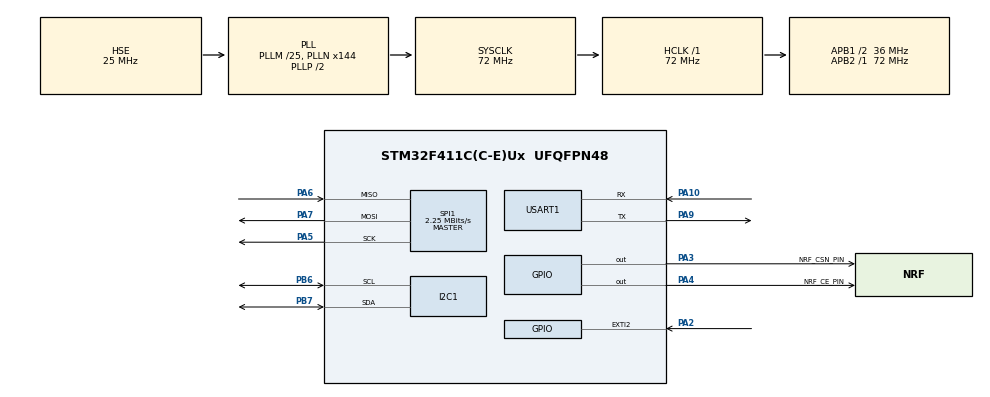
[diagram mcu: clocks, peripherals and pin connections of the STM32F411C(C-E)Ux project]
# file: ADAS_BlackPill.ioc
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Dma.Request0=USART1_RX
Dma.USART1_RX.0.Direction=DMA_PERIPH_TO_MEMORY
Dma.USART1_RX.0.FIFOMode=DMA_FIFOMODE_DISABLE
Dma.USART1_RX.0.Instance=DMA2_Stream2
Dma.USART1_RX.0.MemDataAlignment=DMA_MDATAALIGN_BYTE
Dma.USART1_RX.0.MemInc=DMA_MINC_ENABLE
Dma.USART1_RX.0.Mode=DMA_CIRCULAR
Dma.USART1_RX.0.PeriphDataAlignment=DMA_PDATAALIGN_BYTE
Dma.USART1_RX.0.PeriphInc=DMA_PINC_DISABLE
Dma.USART1_RX.0.Priority=DMA_PRIORITY_LOW
FREERTOS.CountingSemaphores01=myCountingSem01,3,Dynamic,NULL
FREERTOS.Events01=EventGroup,Dynamic,NULL
FREERTOS.INCLUDE_xEventGroupSetBitFromISR=1
FREERTOS.Mutexes01=NRF_Mutex,Dynamic,NULL
FREERTOS.Tasks01=defaultTask,24,128,StartDefaultTask,Default,NULL,Dynamic,NULL,NULL;Startup_Task,48,200,Init_Task,Default,NULL,Dynamic,NULL,NULL;Calc_Dis,32,300,Distance_Calc,Default,NULL,Dynamic,NULL,NULL;Local_Task,24,200,Localization,Default,NULL,Dynamic,NULL,NULL;Check_Algo,32,200,Check_Algorithm,Default,NULL,Dynamic,NULL,NULL;BSW_Algo,16,200,BSW_Algorithm,Default,NULL,Dynamic,NULL,NULL;DPW_Algo,16,200,DPW_Algorithm,Default,NULL,Dynamic,NULL,NULL;Receiveing,8,200,Wireless_Receiving,Default,NULL,Dynamic,NULL,NULL;FCW_Algo,24,200,FCW_Algorithm,Default,NULL,Dynamic,NULL,NULL;EEBL_Algo,8,200,EEBL_Algorithm,Default,NULL,Dynamic,NULL,NULL;Task_LidarData,8,200,Ask_LidarData,Default,NULL,Dynamic,NULL,NULL
FREERTOS.configGENERATE_RUN_TIME_STATS=1
FREERTOS.configRECORD_STACK_HIGH_ADDRESS=1
FREERTOS.configUSE_IDLE_HOOK=1
FREERTOS.configUSE_STATS_FORMATTING_FUNCTIONS=1
I2C1.I2C_Mode=I2C_Fast
Mcu.Family=STM32F4
Mcu.Name=STM32F411C(C-E)Ux
Mcu.Package=UFQFPN48
NVIC.DMA2_Stream2_IRQn=true\:5\:0\:false\:false\:true\:true\:false\:true\:true
NVIC.EXTI2_IRQn=true\:5\:0\:false\:false\:true\:true\:true\:true\:true
NVIC.PriorityGroup=NVIC_PRIORITYGROUP_4
NVIC.TIM3_IRQn=true\:5\:0\:false\:false\:true\:true\:true\:true\:true
NVIC.TIM4_IRQn=true\:15\:0\:false\:false\:true\:false\:false\:true\:true
NVIC.TimeBase=TIM4_IRQn
NVIC.TimeBaseIP=TIM4
NVIC.USART1_IRQn=true\:5\:0\:false\:false\:true\:true\:true\:true\:true
PA10.Mode=Asynchronous
PA10.Signal=USART1_RX
PA13.Mode=Serial_Wire
PA13.Signal=SYS_JTMS-SWDIO
PA14.Mode=Serial_Wire
PA14.Signal=SYS_JTCK-SWCLK
PA2.GPIO_ModeDefaultEXTI=GPIO_MODE_IT_FALLING
PA2.Signal=GPXTI2
PA3.GPIO_Label=NRF_CSN_PIN
PA3.Signal=GPIO_Output
PA4.GPIO_Label=NRF_CE_PIN
PA4.Signal=GPIO_Output
PA5.Mode=Full_Duplex_Master
PA5.Signal=SPI1_SCK
PA6.Mode=Full_Duplex_Master
PA6.Signal=SPI1_MISO
PA7.Mode=Full_Duplex_Master
PA7.Signal=SPI1_MOSI
PA9.Mode=Asynchronous
PA9.Signal=USART1_TX
PB6.Mode=I2C
PB6.Signal=I2C1_SCL
PB7.Mode=I2C
PB7.Signal=I2C1_SDA
PH0\ -\ OSC_IN.Mode=HSE-External-Oscillator
PH0\ -\ OSC_IN.Signal=RCC_OSC_IN
PH1\ -\ OSC_OUT.Mode=HSE-External-Oscillator
PH1\ -\ OSC_OUT.Signal=RCC_OSC_OUT
ProjectManager.HeapSize=0x200
ProjectManager.StackSize=0x400
ProjectManager.TargetToolchain=STM32CubeIDE
RCC.48MHZClocksFreq_Value=36000000
RCC.AHBFreq_Value=72000000
RCC.APB1CLKDivider=RCC_HCLK_DIV2
RCC.APB1Freq_Value=36000000
RCC.APB1TimFreq_Value=72000000
RCC.APB2Freq_Value=72000000
RCC.APB2TimFreq_Value=72000000
RCC.CortexFreq_Value=72000000
RCC.HCLKFreq_Value=72000000
RCC.HSE_VALUE=25000000
RCC.HSI_VALUE=16000000
RCC.LSE_VALUE=32768
RCC.PLLM=25
RCC.PLLN=144
RCC.PLLSourceVirtual=RCC_PLLSOURCE_HSE
RCC.SYSCLKFreq_VALUE=72000000
RCC.SYSCLKSource=RCC_SYSCLKSOURCE_PLLCLK
RCC.VCOOutputFreq_Value=144000000
SPI1.BaudRatePrescaler=SPI_BAUDRATEPRESCALER_32
SPI1.CalculateBaudRate=2.25 MBits/s
SPI1.Direction=SPI_DIRECTION_2LINES
SPI1.Mode=SPI_MODE_MASTER
SPI1.VirtualType=VM_MASTER
USART1.VirtualMode=VM_ASYNC
VP_FREERTOS_VS_CMSIS_V2.Mode=CMSIS_V2
VP_SYS_VS_tim4.Mode=TIM4
VP_TIM3_VS_ClockSourceITR.Mode=TriggerSource_ITR0
board=custom

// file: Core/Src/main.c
/* USER CODE BEGIN Header */
/**
 ******************************************************************************
 * @file           : main.c
 * @brief          : Main program body
 ******************************************************************************
 * @attention
 *
 * Copyright (c) 2024 STMicroelectronics.
 * All rights reserved.
 *
 * This software is licensed under terms that can be found in the LICENSE file
 * in the root directory of this software component.
 * If no LICENSE file comes with this software, it is provided AS-IS.
 *
 ******************************************************************************
 */
/* USER CODE END Header */
#include "main.h"
#include "cmsis_os.h"

/* USER CODE BEGIN Includes */
#include <stdlib.h>
#include <stdbool.h>
#include <string.h>
#include "NRF.h"
#include "../Inc/fonts.h"
#include "../Inc/ssd1306.h"

/* USER CODE END Includes */

/* USER CODE BEGIN PTD */

/**
 * @enum  : @EventBits_t
 * @brief : Contains The Bits of the Event Group
 * 		Each Bit is Specified to Carry out Some Operation When Set
 *
 */
typedef enum
{
	DistanceCalcOnDMA = 0x01 ,	/**< DistanceCalcOnDMA 	*/
	EEBL_ASSERTED	  = 0x02 ,  /**< EEBL_ASSERTED 		*/
	FCW_ASSERTED	  = 0x03 ,  /**< FCW_ASSERTED 		*/
	ALGO_CheckonCalc  = 0x04 , 	/**< ALGO_CheckonCalc 	*/

}EventBits_t;

/**
 * @enum  : @EventBits_t
 * @brief : Contains The Bits of the Event Group
 * 		Each Bit is Specified to Carry out Some Operation When Set
 *
 */
typedef enum
{
	FCW_ID=0x55,
	DPW_R_ID=0x56,
	DPW_L_ID=0x57,
	BSW_R_ID=0x58,
	BSW_L_ID=0x59,
	EEBL_ID=0x60,
	ASK_DATA=0xf1,
	SAFE_PASS_L_ID = 0xFA,
	SAFE_PASS_R_ID = 0xFB

}Algo_message;

/**
 * @enum  : Motors_State_t
 * @brief : Contains The Bits Containing Motor State of Motors Movement To Send To the RPI
 *
 */
typedef enum{
	RPI_STOP = 0x45,
	RPI_MOVE=0x46
}Motors_State_t;

/* USER CODE END PTD */

/* USER CODE BEGIN PM */
#define CAR_ID							0x11	/* My Own Car ID */
#define LOCALIZATION_OPERATION_ID		0x01	/* ID For Localization Operation */
#define ASK_DIRECTION_OPERATION_ID      0x02	/* ID For Request Direction */
#define FCW_Threshold                   2000u   /* distances in mm this comes first*/
#define EEBL_Threshold                  1000u   /* distances in mm this comes second*/
#define TOTAL_ANGLES					360
#define LOCALIZATION_TOLERANCE_VALUE	500

/*TODO : Angles & Thresholds may Need Some Adjustment Depending on your Needs  */
#define BSW_Minimum_Angle_L				120
#define BSW_Maximium_Angle_L			150

#define BSW_Minimum_Angle_R				30
#define BSW_Maximium_Angle_R			60

#define BSW_Threshold					700u

/*TODO : Angles & Thresholds may Need Some Adjustment Depending on your Needs  */
#define DPW_Minimum_Angle_L				215
#define DPW_Maximium_Angle_L			240

#define DPW_Minimum_Angle_R				300
#define DPW_Maximium_Angle_R			330

#define DPW_Threshold					1000u

/* USER CODE END PM */

I2C_HandleTypeDef hi2c1;

SPI_HandleTypeDef hspi1;

TIM_HandleTypeDef htim3;

UART_HandleTypeDef huart1;

DMA_HandleTypeDef hdma_usart1_rx;

/* Definitions for defaultTask */
osThreadId_t defaultTaskHandle;
const osThreadAttr_t defaultTask_attributes = {
		.name = "defaultTask",
		.stack_size = 128 * 4,
		.priority = (osPriority_t) osPriorityNormal,
};
/* Definitions for Startup_Task */
osThreadId_t Startup_TaskHandle;
const osThreadAttr_t Startup_Task_attributes = {
		.name = "Startup_Task",
		.stack_size = 200 * 4,
		.priority = (osPriority_t) osPriorityRealtime,
};
/* Definitions for Calc_Dis */
osThreadId_t Calc_DisHandle;
const osThreadAttr_t Calc_Dis_attributes = {
		.name = "Calc_Dis",
		.stack_size = 300 * 4,
		.priority = (osPriority_t) osPriorityAboveNormal,
};
/* Definitions for Local_Task */
osThreadId_t Local_TaskHandle;
const osThreadAttr_t Local_Task_attributes = {
		.name = "Local_Task",
		.stack_size = 200 * 4,
		.priority = (osPriority_t) osPriorityNormal,
};
/* Definitions for Check_Algo */
osThreadId_t Check_AlgoHandle;
const osThreadAttr_t Check_Algo_attributes = {
		.name = "Check_Algo",
		.stack_size = 200 * 4,
		.priority = (osPriority_t) osPriorityAboveNormal,
};
/* Definitions for BSW_Algo */
osThreadId_t BSW_AlgoHandle;
const osThreadAttr_t BSW_Algo_attributes = {
		.name = "BSW_Algo",
		.stack_size = 200 * 4,
		.priority = (osPriority_t) osPriorityBelowNormal,
};
/* Definitions for DPW_Algo */
osThreadId_t DPW_AlgoHandle;
const osThreadAttr_t DPW_Algo_attributes = {
		.name = "DPW_Algo",
		.stack_size = 200 * 4,
		.priority = (osPriority_t) osPriorityBelowNormal,
};
/* Definitions for Receiveing */
osThreadId_t ReceiveingHandle;
const osThreadAttr_t Receiveing_attributes = {
		.name = "Receiveing",
		.stack_size = 200 * 4,
		.priority = (osPriority_t) osPriorityLow,
};
/* Definitions for FCW_Algo */
osThreadId_t FCW_AlgoHandle;
const osThreadAttr_t FCW_Algo_attributes = {
		.name = "FCW_Algo",
		.stack_size = 200 * 4,
		.priority = (osPriority_t) osPriorityNormal,
};
/* Definitions for EEBL_Algo */
osThreadId_t EEBL_AlgoHandle;
const osThreadAttr_t EEBL_Algo_attributes = {
		.name = "EEBL_Algo",
		.stack_size = 200 * 4,
		.priority = (osPriority_t) osPriorityLow,
};
/* Definitions for Task_LidarData */
osThreadId_t Task_LidarDataHandle;
const osThreadAttr_t Task_LidarData_attributes = {
		.name = "Task_LidarData",
		.stack_size = 200 * 4,
		.priority = (osPriority_t) osPriorityLow,
};
/* Definitions for NRF_Mutex */
osMutexId_t NRF_MutexHandle;
const osMutexAttr_t NRF_Mutex_attributes = {
		.name = "NRF_Mutex"
};
/* Definitions for myCountingSem01 */
osSemaphoreId_t myCountingSem01Handle;
const osSemaphoreAttr_t myCountingSem01_attributes = {
		.name = "myCountingSem01"
};
/* Definitions for EventGroup */
osEventFlagsId_t EventGroupHandle;
const osEventFlagsAttr_t EventGroup_attributes = {
		.name = "EventGroup"
};
/* USER CODE BEGIN PV */
/* Distances Sent From Lidar of the 360 Degrees */
uint8_t Distances_Buffer_str[TOTAL_ANGLES][5] = {{0}};
uint16_t Distances_Buffer[TOTAL_ANGLES] = {0};
/* Indicies of Directions in the Final Calculated Average Distances Array
 *
 */
#define FRONT_RIGHT 	7
#define FRONT 			6
#define FRONT_LEFT 		5
#define LEFT 			4
#define BACK_LEFT 		3
#define BACK 			2
#define BACK_RIGHT 		1
#define RIGHT 			0

uint8_t My_Direction	=			0;
uint16_t * Obstcales_Detection = NULL;
uint8_t Front_Car_ID	=			0x05;
uint8_t Back_Car_ID		=			0x05;

/* USER CODE END PV */

void SystemClock_Config(void);
static void MX_GPIO_Init(void);
static void MX_DMA_Init(void);
static void MX_SPI1_Init(void);
static void MX_TIM3_Init(void);
static void MX_USART1_UART_Init(void);
static void MX_I2C1_Init(void);
void StartDefaultTask(void *argument);
void Init_Task(void *argument);
void Distance_Calc(void *argument);
void Localization(void *argument);
void Check_Algorithm(void *argument);
void BSW_Algorithm(void *argument);
void DPW_Algorithm(void *argument);
void Wireless_Receiving(void *argument);
void FCW_Algorithm(void *argument);
void EEBL_Algorithm(void *argument);
void Ask_LidarData(void *argument);

/* USER CODE BEGIN 0 */
uint64_t RxpipeAddrs = 0x11223344AA;
char myRxData[32];
char myTxData[32] = "Hello From STM32";
char AckPayload[32] = "Acked by STM32";
char AckPayload_Buffer[32];
/* USER CODE END 0 */

int main(void)
{

	/* MCU Configuration--------------------------------------------------------*/

	/* Reset of all peripherals, Initializes the Flash interface and the Systick. */
	HAL_Init();

	/* Configure the system clock */
	SystemClock_Config();

	/* Initialize all configured peripherals */
	MX_GPIO_Init();
	MX_DMA_Init();
	MX_SPI1_Init();
	MX_TIM3_Init();
	MX_USART1_UART_Init();
	MX_I2C1_Init();
	/* USER CODE BEGIN 2 */
	/* Initialize DMA with UART to Generate Interrupt When Receiving all 360 Angle Distances */
	HAL_UART_Receive_DMA(&huart1, Distances_Buffer_str, (uint16_t)(TOTAL_ANGLES*5));
	/* USER CODE END 2 */

	/* Init scheduler */
	osKernelInitialize();
	/* Create the mutex(es) */
	/* creation of NRF_Mutex */
	NRF_MutexHandle = osMutexNew(&NRF_Mutex_attributes);

	/* Create the semaphores(s) */
	/* creation of myCountingSem01 */
	myCountingSem01Handle = osSemaphoreNew(3, 0, &myCountingSem01_attributes);

	/* Create the thread(s) */
	/* creation of defaultTask */
	defaultTaskHandle = osThreadNew(StartDefaultTask, NULL, &defaultTask_attributes);

	/* creation of Startup_Task */
	Startup_TaskHandle = osThreadNew(Init_Task, NULL, &Startup_Task_attributes);

	/* creation of Calc_Dis */
	Calc_DisHandle = osThreadNew(Distance_Calc, NULL, &Calc_Dis_attributes);

	/* creation of Local_Task */
	Local_TaskHandle = osThreadNew(Localization, NULL, &Local_Task_attributes);

	/* creation of Check_Algo */
	Check_AlgoHandle = osThreadNew(Check_Algorithm, NULL, &Check_Algo_attributes);

	/* creation of BSW_Algo */
	BSW_AlgoHandle = osThreadNew(BSW_Algorithm, NULL, &BSW_Algo_attributes);

	/* creation of DPW_Algo */
	DPW_AlgoHandle = osThreadNew(DPW_Algorithm, NULL, &DPW_Algo_attributes);

	/* creation of Receiveing */
	ReceiveingHandle = osThreadNew(Wireless_Receiving, NULL, &Receiveing_attributes);

	/* creation of FCW_Algo */
	FCW_AlgoHandle = osThreadNew(FCW_Algorithm, NULL, &FCW_Algo_attributes);

	/* creation of EEBL_Algo */
	EEBL_AlgoHandle = osThreadNew(EEBL_Algorithm, NULL, &EEBL_Algo_attributes);

	/* creation of Task_LidarData */
	Task_LidarDataHandle = osThreadNew(Ask_LidarData, NULL, &Task_LidarData_attributes);

	/* creation of EventGroup */
	EventGroupHandle = osEventFlagsNew(&EventGroup_attributes);

	/* Start scheduler */
	osKernelStart();

	/* We should never get here as control is now taken by the scheduler */

	/* Infinite loop */
	while (1)
	{

	}
}

void SystemClock_Config(void)
{
	RCC_OscInitTypeDef RCC_OscInitStruct = {0};
	RCC_ClkInitTypeDef RCC_ClkInitStruct = {0};

	/** Configure the main internal regulator output voltage
	 */
	__HAL_RCC_PWR_CLK_ENABLE();
	__HAL_PWR_VOLTAGESCALING_CONFIG(PWR_REGULATOR_VOLTAGE_SCALE1);

	/** Initializes the RCC Oscillators according to the specified parameters
	 * in the RCC_OscInitTypeDef structure.
	 */
	RCC_OscInitStruct.OscillatorType = RCC_OSCILLATORTYPE_HSE;
	RCC_OscInitStruct.HSEState = RCC_HSE_ON;
	RCC_OscInitStruct.PLL.PLLState = RCC_PLL_ON;
	RCC_OscInitStruct.PLL.PLLSource = RCC_PLLSOURCE_HSE;
	RCC_OscInitStruct.PLL.PLLM = 25;
	RCC_OscInitStruct.PLL.PLLN = 144;
	RCC_OscInitStruct.PLL.PLLP = RCC_PLLP_DIV2;
	RCC_OscInitStruct.PLL.PLLQ = 4;
	if (HAL_RCC_OscConfig(&RCC_OscInitStruct) != HAL_OK)
	{
		Error_Handler();
	}

	/** Initializes the CPU, AHB and APB buses clocks
	 */
	RCC_ClkInitStruct.ClockType = RCC_CLOCKTYPE_HCLK|RCC_CLOCKTYPE_SYSCLK
			|RCC_CLOCKTYPE_PCLK1|RCC_CLOCKTYPE_PCLK2;
	RCC_ClkInitStruct.SYSCLKSource = RCC_SYSCLKSOURCE_PLLCLK;
	RCC_ClkInitStruct.AHBCLKDivider = RCC_SYSCLK_DIV1;
	RCC_ClkInitStruct.APB1CLKDivider = RCC_HCLK_DIV2;
	RCC_ClkInitStruct.APB2CLKDivider = RCC_HCLK_DIV1;

	if (HAL_RCC_ClockConfig(&RCC_ClkInitStruct, FLASH_LATENCY_2) != HAL_OK)
	{
		Error_Handler();
	}
}

static void MX_I2C1_Init(void)
{

	hi2c1.Instance = I2C1;
	hi2c1.Init.ClockSpeed = 400000;
	hi2c1.Init.DutyCycle = I2C_DUTYCYCLE_2;
	hi2c1.Init.OwnAddress1 = 0;
	hi2c1.Init.AddressingMode = I2C_ADDRESSINGMODE_7BIT;
	hi2c1.Init.DualAddressMode = I2C_DUALADDRESS_DISABLE;
	hi2c1.Init.OwnAddress2 = 0;
	hi2c1.Init.GeneralCallMode = I2C_GENERALCALL_DISABLE;
	hi2c1.Init.NoStretchMode = I2C_NOSTRETCH_DISABLE;
	if (HAL_I2C_Init(&hi2c1) != HAL_OK)
	{
		Error_Handler();
	}

}

static void MX_SPI1_Init(void)
{

	/* SPI1 parameter configuration*/
	hspi1.Instance = SPI1;
	hspi1.Init.Mode = SPI_MODE_MASTER;
	hspi1.Init.Direction = SPI_DIRECTION_2LINES;
	hspi1.Init.DataSize = SPI_DATASIZE_8BIT;
	hspi1.Init.CLKPolarity = SPI_POLARITY_LOW;
	hspi1.Init.CLKPhase = SPI_PHASE_1EDGE;
	hspi1.Init.NSS = SPI_NSS_SOFT;
	hspi1.Init.BaudRatePrescaler = SPI_BAUDRATEPRESCALER_32;
	hspi1.Init.FirstBit = SPI_FIRSTBIT_MSB;
	hspi1.Init.TIMode = SPI_TIMODE_DISABLE;
	hspi1.Init.CRCCalculation = SPI_CRCCALCULATION_DISABLE;
	hspi1.Init.CRCPolynomial = 10;
	if (HAL_SPI_Init(&hspi1) != HAL_OK)
	{
		Error_Handler();
	}

}

static void MX_TIM3_Init(void)
{

	TIM_SlaveConfigTypeDef sSlaveConfig = {0};
	TIM_MasterConfigTypeDef sMasterConfig = {0};

	htim3.Instance = TIM3;
	htim3.Init.Prescaler = 0;
	htim3.Init.CounterMode = TIM_COUNTERMODE_UP;
	htim3.Init.Period = 65535;
	htim3.Init.ClockDivision = TIM_CLOCKDIVISION_DIV1;
	htim3.Init.AutoReloadPreload = TIM_AUTORELOAD_PRELOAD_DISABLE;
	if (HAL_TIM_Base_Init(&htim3) != HAL_OK)
	{
		Error_Handler();
	}
	sSlaveConfig.SlaveMode = TIM_SLAVEMODE_DISABLE;
	sSlaveConfig.InputTrigger = TIM_TS_ITR0;
	if (HAL_TIM_SlaveConfigSynchro(&htim3, &sSlaveConfig) != HAL_OK)
	{
		Error_Handler();
	}
	sMasterConfig.MasterOutputTrigger = TIM_TRGO_RESET;
	sMasterConfig.MasterSlaveMode = TIM_MASTERSLAVEMODE_DISABLE;
	if (HAL_TIMEx_MasterConfigSynchronization(&htim3, &sMasterConfig) != HAL_OK)
	{
		Error_Handler();
	}

}

static void MX_USART1_UART_Init(void)
{

	huart1.Instance = USART1;
	huart1.Init.BaudRate = 115200;
	huart1.Init.WordLength = UART_WORDLENGTH_8B;
	huart1.Init.StopBits = UART_STOPBITS_1;
	huart1.Init.Parity = UART_PARITY_NONE;
	huart1.Init.Mode = UART_MODE_TX_RX;
	huart1.Init.HwFlowCtl = UART_HWCONTROL_NONE;
	huart1.Init.OverSampling = UART_OVERSAMPLING_16;
	if (HAL_UART_Init(&huart1) != HAL_OK)
	{
		Error_Handler();
	}

}

static void MX_DMA_Init(void)
{

	/* DMA controller clock enable */
	__HAL_RCC_DMA2_CLK_ENABLE();

	/* DMA interrupt init */
	/* DMA2_Stream2_IRQn interrupt configuration */
	HAL_NVIC_SetPriority(DMA2_Stream2_IRQn, 5, 0);
	HAL_NVIC_EnableIRQ(DMA2_Stream2_IRQn);

}

static void MX_GPIO_Init(void)
{
	GPIO_InitTypeDef GPIO_InitStruct = {0};

	/* GPIO Ports Clock Enable */
	__HAL_RCC_GPIOH_CLK_ENABLE();
	__HAL_RCC_GPIOA_CLK_ENABLE();
	__HAL_RCC_GPIOB_CLK_ENABLE();

	/*Configure GPIO pin Output Level */
	HAL_GPIO_WritePin(GPIOA, NRF_CSN_PIN_Pin|NRF_CE_PIN_Pin, GPIO_PIN_RESET);

	/*Configure GPIO pin : PA2 */
	GPIO_InitStruct.Pin = GPIO_PIN_2;
	GPIO_InitStruct.Mode = GPIO_MODE_IT_FALLING;
	GPIO_InitStruct.Pull = GPIO_NOPULL;
	HAL_GPIO_Init(GPIOA, &GPIO_InitStruct);

	/*Configure GPIO pins : NRF_CSN_PIN_Pin NRF_CE_PIN_Pin */
	GPIO_InitStruct.Pin = NRF_CSN_PIN_Pin|NRF_CE_PIN_Pin;
	GPIO_InitStruct.Mode = GPIO_MODE_OUTPUT_PP;
	GPIO_InitStruct.Pull = GPIO_NOPULL;
	GPIO_InitStruct.Speed = GPIO_SPEED_FREQ_LOW;
	HAL_GPIO_Init(GPIOA, &GPIO_InitStruct);

	/* EXTI interrupt init*/
	HAL_NVIC_SetPriority(EXTI2_IRQn, 5, 0);
	HAL_NVIC_EnableIRQ(EXTI2_IRQn);

}

/* USER CODE BEGIN 4 */
/**
 * @fn		: uint8_t _CalcAvgDistance*(uint8_t*)
 * @brief 	: This Function Calculates Average Distances of 3 Angles Beside the Main Angle For Ex
 * 				--> @Angles: 87,88,89, 90 ,91,92,93 We Get The Average Distance and we Repeat the Process on
 * 				Other Angles Like 0(FRONT),45(FRONT_LEFT),90(LEFT),135(BACK_LEFT),180(BACK),
 * 				225(BACK_RIGHT),270(RIGHT),315(FRONT RIGHT)
 * @param	: Data_Arr --> Total Array Received From Rasberrypi of 360 Elements
 * @return	: An Array of 8 Elements Each element is an Average Distance @ a Pre-defined Angles
 */
uint16_t * _CalcAvgDistance( uint16_t * Data_Arr )
{
	uint16_t Local_CounterI = 0 ;
	int16_t Local_CounterII = 0;
	uint8_t Local_Zeros	= 0 ;
	static uint16_t Local_AvgDistance[8] = {0};

	for (Local_CounterI = 0; Local_CounterI < 8; Local_CounterI++)
	{
		uint32_t Local_TempI = 0; // Reset Local_TempI for each angle
		int16_t LowerLimit  = (Local_CounterI * 45) - 3;
		uint16_t UpperLimit = (Local_CounterI * 45) + 3;

		for (Local_CounterII = LowerLimit; Local_CounterII <= UpperLimit; Local_CounterII++)
		{
			// Make sure the index is within bounds (0-359)
			uint16_t Index = (Local_CounterII + TOTAL_ANGLES) % TOTAL_ANGLES;

			if( 0==Data_Arr[Index] )
			{
				Local_Zeros++;
			}
			else
			{
				Local_TempI += Data_Arr[Index];
			}
		}

		// Calculate average for this angle

		if(Local_Zeros == 7)
		{
			Local_Zeros = 0 ;

			continue;
		}
		Local_AvgDistance[Local_CounterI] = Local_TempI / (7-Local_Zeros);
		Local_Zeros = 0 ;

	}

	return Local_AvgDistance;
}

/**
 * @fn 		:	void HAL_GPIO_EXTI_Callback(uint16_t)
 * @brief 	:	EXTI Generated By NRF Module
 *
 * @param 	:	GPIO_Pin
 */
void HAL_GPIO_EXTI_Callback(uint16_t GPIO_Pin)
{
	if(GPIO_Pin == GPIO_PIN_2)
	{

	}
}

/**
 * @fn 		:	void HAL_UART_RxCpltCallback(UART_HandleTypeDef*)
 * @brief 	:	UART Receive Interrupt with DMA
 *
 * @param huart
 */
void HAL_UART_RxCpltCallback(UART_HandleTypeDef *huart)
{
	/* Set Event Flag ( Bit 0 ) as Indication For Start Distance Calculation */
	//osEventFlagsSet( EventGroupHandle , DistanceCalcOnDMA ) ;
	/* Convert Strings to Integers */
	for( uint16_t LocalItterator = 0 ; LocalItterator < TOTAL_ANGLES ; LocalItterator++ )
	{
		Distances_Buffer[LocalItterator] = atoi(Distances_Buffer_str[LocalItterator]) ;
	}
	/* Arrange distances returned from the function to be :
	 * 			Front - Back - Right - Left - FR - FL - BR - BL*/
	Obstcales_Detection = _CalcAvgDistance(Distances_Buffer);

	osSemaphoreRelease(myCountingSem01Handle);
	osSemaphoreRelease(myCountingSem01Handle);
	osSemaphoreRelease(myCountingSem01Handle);
	//osEventFlagsSet( EventGroupHandle , ALGO_CheckonCalc ) ;
}

void _vSSD1306_ForwardCollisionWarning(void)
{
	SSD1306_DrawRectangle(0, 0 , 128u ,  64u , SSD1306_COLOR_WHITE ) ;
	SSD1306_GotoXY(64-60,4) ;
	SSD1306_Puts("Forward Collision",&Font_7x10,SSD1306_COLOR_WHITE) ;
	SSD1306_GotoXY(64-(25),15) ;
	SSD1306_Puts("Warning",&Font_7x10,SSD1306_COLOR_WHITE) ;

	SSD1306_DrawBitmap(64-18 , 26  , ForwardCollision_Bitmap , 35 , 35, SSD1306_COLOR_WHITE) ;
}

void _vSSD1306_BlindSpotWarning( BlindSpotDirection_t Copy_u8Direction )
{
	SSD1306_DrawRectangle(0, 0 , 128u ,  64u , SSD1306_COLOR_WHITE ) ;
	SSD1306_GotoXY(64-(35),4) ;
	SSD1306_Puts("Blind Spot",&Font_7x10,SSD1306_COLOR_WHITE) ;

	if( Copy_u8Direction == BlindSpotDirection_Right )
	{
		SSD1306_GotoXY(64-(56),15) ;
		SSD1306_Puts("Warning On Right",&Font_7x10,SSD1306_COLOR_WHITE) ;
	}
	else if( Copy_u8Direction == BlindSpotDirection_Left )
	{
		SSD1306_GotoXY(64-(53),15) ;
		SSD1306_Puts("Warning On Left",&Font_7x10,SSD1306_COLOR_WHITE) ;
	}
	else if( Copy_u8Direction == BlindSpodDirection_Both )
	{
		SSD1306_GotoXY(64-(53),15) ;
		SSD1306_Puts("Warning On Both",&Font_7x10,SSD1306_COLOR_WHITE) ;
	}
	SSD1306_DrawBitmap(64-18 , 26  , BlindSpotWarning_Bitmap , 35 , 35, SSD1306_COLOR_WHITE) ;

}

void _vSSD1306_EmergencyElectronicBrake(void)
{
	SSD1306_DrawRectangle(0, 0 , 128u ,  64u , SSD1306_COLOR_WHITE ) ;
	SSD1306_GotoXY(64-28,4) ;
	SSD1306_Puts("Warning!",&Font_7x10,SSD1306_COLOR_WHITE) ;
	SSD1306_GotoXY(64-46,15) ;
	SSD1306_Puts("Front Vehicle",&Font_7x10,SSD1306_COLOR_WHITE) ;
	SSD1306_GotoXY(64-42,26) ;
	SSD1306_Puts("Hard Braking",&Font_7x10,SSD1306_COLOR_WHITE) ;

	SSD1306_DrawBitmap(64-13 , 37  , EEBL_Bitmap , 25 , 25, SSD1306_COLOR_WHITE) ;

}

void _vSSD1306_SafeToPass(DontPassWarningDirection_t Copy_u8Direction)
{
	SSD1306_DrawRectangle(0, 0 , 128u ,  64u , SSD1306_COLOR_WHITE ) ;
	SSD1306_GotoXY(64-42,4) ;
	SSD1306_Puts("Safe To Pass",&Font_7x10,SSD1306_COLOR_WHITE) ;

	if( Copy_u8Direction == DontPassWarningDirection_Right )
	{
		SSD1306_GotoXY(64-35,15) ;
		SSD1306_Puts("From Right",&Font_7x10,SSD1306_COLOR_WHITE) ;
		SSD1306_DrawBitmap(64-18 , 26  , SafeToPassVisualFromRight_Bitmap , 25 , 25, SSD1306_COLOR_WHITE) ;

	}
	else if( Copy_u8Direction == DontPassWarningDirection_Left )
	{
		SSD1306_GotoXY(64-32,15) ;
		SSD1306_Puts("From Left",&Font_7x10,SSD1306_COLOR_WHITE) ;
		SSD1306_DrawBitmap(64-18 , 26  , SafeToPassVisualFromLeft_Bitmap , 25 , 25, SSD1306_COLOR_WHITE) ;

	}
	else
	{
		// Do Nothing
	}

}

void _vSSD1306_DontPassWarning(DontPassWarningDirection_t Copy_u8Direction)
{
	SSD1306_DrawRectangle(0, 0 , 128u ,  64u , SSD1306_COLOR_WHITE ) ;
	SSD1306_GotoXY(64-53,4) ;
	SSD1306_Puts("Don't Pass From",&Font_7x10,SSD1306_COLOR_WHITE) ;

	if( Copy_u8Direction == DontPassWarningDirection_Right )
	{
		SSD1306_GotoXY(64-18,15) ;
		SSD1306_Puts("Right",&Font_7x10,SSD1306_COLOR_WHITE) ;
	}
	else if( Copy_u8Direction == DontPassWarningDirection_Left )
	{
		SSD1306_GotoXY(64-14,15) ;
		SSD1306_Puts("Left",&Font_7x10,SSD1306_COLOR_WHITE) ;
	}
	else
	{
		/* Do Nothing */
	}

	SSD1306_DrawBitmap(64-18 , 26  , DontPassWarning_Bitmap , 35 , 35, SSD1306_COLOR_WHITE) ;

}
/* USER CODE END 4 */

void StartDefaultTask(void *argument)
{
	for(;;)
	{
		osDelay(1);
	}
}

void Init_Task(void *argument)
{
	/* USER CODE BEGIN Init_Task */

	/* Initializing SSD1306 ( OLED Display ) */
	SSD1306_Init();
	/* NRF Module Initialization -> Less Then 0.5 Sec */
	/* Protecting Shared Resource -> NRF Module
	 *  */
	osMutexAcquire(NRF_MutexHandle, HAL_MAX_DELAY);

	NRF24_begin(hspi1);
	NRF24_setAutoAck(true);
	NRF24_setPayloadSize(32);
	//NRF24_enableDynamicPayloads();
	//NRF24_enableAckPayload();
	NRF24_openReadingPipe(1, RxpipeAddrs);
	NRF24_openWritingPipe(RxpipeAddrs);
	//NRF24_writeAckPayload(1, AckPayload, 32);
	NRF24_startListening();

	osMutexRelease(NRF_MutexHandle);

	/* Add Any Initializations Here */
	/* Stack Size for this Task ( @Run Time ) = 348 B */
	/* Terminating StartupTask as It is No longer Important in the Sys */
	osThreadTerminate(Startup_TaskHandle);

	/* USER CODE END Init_Task */
}

void Distance_Calc(void *argument)
{
	/* USER CODE BEGIN Distance_Calc */
	/* Infinite loop */
	for(;;)
	{
		/* Wait on DMA Interrupt On Receive to Come */
		//osEventFlagsWait( EventGroupHandle , DistanceCalcOnDMA , osFlagsWaitAny , HAL_MAX_DELAY ) ;
		osDelay(5000);

		/* Setting a Flag That Indicates For Distance Calculation Finished
		 * That Starts Checking on Distances in the Task -> (@Algo_Check)
		 */

	}
	/* USER CODE END Distance_Calc */
}

void Localization(void *argument)
{
	/* USER CODE BEGIN Localization */
	/* Infinite loop */
	for(;;)
	{
		/* Localization Frame to Be Sent via NRF */
		uint8_t Localization_Frame[10] = {CAR_ID,LOCALIZATION_OPERATION_ID,
				Obstcales_Detection[FRONT],Obstcales_Detection[FRONT_LEFT],
				Obstcales_Detection[LEFT],Obstcales_Detection[BACK_LEFT],
				Obstcales_Detection[BACK],Obstcales_Detection[BACK_RIGHT],
				Obstcales_Detection[RIGHT],Obstcales_Detection[FRONT_RIGHT]
		};

		/* Protecting Shared Resource -> NRF Module
		 * */
		osMutexAcquire(NRF_MutexHandle, HAL_MAX_DELAY) ;

		NRF24_stopListening();
		NRF24_write(Localization_Frame, 10);
		NRF24_startListening();

		osMutexRelease(NRF_MutexHandle);

		/* TODO: Timing Should Be Considered */
		osDelay(1500);
	}
	/* USER CODE END Localization */
}

void Check_Algorithm(void *argument)
{
	/* USER CODE BEGIN Check_Algorithm */
	uint8_t Local_u8SendToRaspiContMov = RPI_MOVE ;

	bool Local_FCW_LastState = false ;
	bool Local_EEBL_LastState = false ;

	/* Infinite loop */
	for(;;)
	{
		/* Wait on Distance Calculation First To Finish
		 * */
		osSemaphoreAcquire(myCountingSem01Handle,HAL_MAX_DELAY );
		//osEventFlagsWait( EventGroupHandle , ALGO_CheckonCalc , osFlagsWaitAny, HAL_MAX_DELAY ) ;
		bool Local_FCW = false ;
		bool Local_EEBL=false;
		/* Checking on Front Threshold */
		for (uint16_t Angle_Iterator = 275 ;
				Angle_Iterator >= 265 ;
				Angle_Iterator--)
		{
			if ( ( ( 0 != Distances_Buffer[Angle_Iterator] ) &&
					((Distances_Buffer[Angle_Iterator] >= EEBL_Threshold )&&(Distances_Buffer[Angle_Iterator] <= FCW_Threshold )) ) )
			{
				/*break the loop and invoke BSW Left warning*/
				Local_FCW = true ;
				break;
			}

			if ( ( 0 != Distances_Buffer[Angle_Iterator] ) && (Distances_Buffer[Angle_Iterator] <= EEBL_Threshold ) )
			{
				/*break the loop and invoke BSW Left warning*/
				Local_EEBL = true ;
				break;
			}
		}

		if ( ( Local_FCW == true ) && ( Local_FCW_LastState != true ) )
		{
			//Invoke FCW algorithm
			osEventFlagsSet( EventGroupHandle , FCW_ASSERTED ) ;

		}
		else if ( ( Local_FCW == false ) && ( Local_FCW_LastState == true ) )
		{
			/*Abort the Algorithm*/
			SSD1306_Clear();
		}
		else
		{

		}

		if ( ( Local_EEBL == true ) && ( Local_EEBL_LastState != true ) )
		{
			//Invoke FCW algorithm
			osEventFlagsSet( EventGroupHandle , EEBL_ASSERTED ) ;

		}
		else if ( ( Local_EEBL == false ) && ( Local_EEBL_LastState == true ) )
		{
			/*Abort the Algorithm*/
			SSD1306_Clear();
		}
		else
		{

		}

		osDelay(200);
	}
	/* USER CODE END Check_Algorithm */
}

void BSW_Algorithm(void *argument)
{
	/* USER CODE BEGIN BSW_Algorithm */

	bool Local_BSWL_LastState = false ;
	bool Local_BSWR_LastState = false ;

	/* Infinite loop */
	for(;;)
	{
		/* Wait on DMA Interrupt On Receive to Come */
		osSemaphoreAcquire(myCountingSem01Handle,HAL_MAX_DELAY );
		//osEventFlagsWait( EventGroupHandle , ALGO_CheckonCalc , osFlagsWaitAny , HAL_MAX_DELAY ) ;
		bool Local_BSWLeft = false ;
		bool Local_BSWRight= false ;
		Local_BSWL_LastState = Local_BSWLeft  ;
		Local_BSWR_LastState = Local_BSWRight ;

		/*Check the Left Angles*/
		for (uint16_t Angle_Iterator = BSW_Maximium_Angle_L ;
				Angle_Iterator >= BSW_Minimum_Angle_L ;
				Angle_Iterator--)
		{
			if ( ( 0 != Distances_Buffer[Angle_Iterator] ) && (Distances_Buffer[Angle_Iterator] <= BSW_Threshold ))
			{
				/*break the loop and invoke BSW Left warning*/
				Local_BSWLeft = true ;

				break;
			}
		}
		/*Check the Right Angles*/
		for (uint16_t Angle_Iterator = BSW_Minimum_Angle_R ;
				Angle_Iterator <= BSW_Maximium_Angle_R ;
				Angle_Iterator++)
		{
			if ( ( 0 != Distances_Buffer[Angle_Iterator] ) && (Distances_Buffer[Angle_Iterator] <= BSW_Threshold) )
			{
				/*break the loop and invoke BSW Left warning*/
				Local_BSWRight = true;

				break;
			}
		}

		if ( ( Local_BSWLeft == true ) && ( Local_BSWL_LastState != true ) )
		{
			SSD1306_Clear();
			/*Invoke the Algorithm*/
			_vSSD1306_BlindSpotWarning(BlindSpotDirection_Left);
			SSD1306_UpdateScreen();

		}
		else if ( ( Local_BSWLeft == false ) && ( Local_BSWL_LastState == true ) )
		{
			/*Abort the Algorithm*/
			SSD1306_Clear();
		}
		else
		{
			/* Do Nothing */
			//SSD1306_Clear();
		}

		if ( ( Local_BSWRight == true ) && ( Local_BSWR_LastState != true ) )
		{
			SSD1306_Clear();
			/*Invoke the Algorithm*/
			_vSSD1306_BlindSpotWarning(BlindSpotDirection_Right);
			SSD1306_UpdateScreen();
		}
		else if ( ( Local_BSWRight == false ) && ( Local_BSWR_LastState == true ) )
		{
			/*Abort the Algorithm*/
			SSD1306_Clear();
		}
		else
		{
			/* Do Nothing */
			//SSD1306_Clear();
		}

		if( ( Local_BSWRight == true ) && ( Local_BSWLeft == true ) )
		{
			SSD1306_Clear();
			/*Invoke the Algorithm*/
			_vSSD1306_BlindSpotWarning(BlindSpotDirection_Right);
			SSD1306_UpdateScreen();
		}

		osDelay(200);
	}
	/* USER CODE END BSW_Algorithm */
}

void DPW_Algorithm(void *argument)
{
	/* USER CODE BEGIN DPW_Algorithm */

	bool Local_DPWL_LastState = false ;
	bool Local_DPWR_LastState = false ;

	/* Infinite loop */
	for(;;)
	{
		bool Local_DPWLeft = false ;
		bool Local_DPWRight= false ;
		Local_DPWL_LastState = Local_DPWLeft ;
		Local_DPWR_LastState = Local_DPWRight;

		/* Wait on DMA Interrupt On Receive to Come */
		//osEventFlagsWait( EventGroupHandle , ALGO_CheckonCalc , osFlagsWaitAny , HAL_MAX_DELAY ) ;
		osSemaphoreAcquire(myCountingSem01Handle,HAL_MAX_DELAY );
		uint8_t MessageToWarnBackCar[]={CAR_ID, 0 , Back_Car_ID};

		/*Check the Left Angles*/
		for (uint16_t Angle_Iterator = DPW_Maximium_Angle_L ;
				Angle_Iterator >= DPW_Minimum_Angle_L ;
				Angle_Iterator--)
		{
			if ( ( 0 != Distances_Buffer[Angle_Iterator] ) && (Distances_Buffer[Angle_Iterator] <= DPW_Threshold))
			{
				/*break the loop and invoke DPW Left warning*/

				Local_DPWLeft = true;

				break;
			}
		}
		/*Check the Right Angles*/
		for (uint16_t Angle_Iterator = DPW_Minimum_Angle_R ;
				Angle_Iterator <= DPW_Maximium_Angle_R ;
				Angle_Iterator++)
		{
			if ( ( 0 != Distances_Buffer[Angle_Iterator] ) && (Distances_Buffer[Angle_Iterator] <= DPW_Threshold) )
			{
				/*break the loop and invoke DPW Right warning*/
				Local_DPWRight = true;
				break;
			}
		}

		if ( ( Local_DPWLeft == true ) && ( Local_DPWL_LastState != true ) )
		{
			/*Invoke the Algorithm*/
			/* Send warning to the Backward Vehicle ( Don't Pass Warning ) via NRF */
			MessageToWarnBackCar[1]=DPW_L_ID;
			osMutexAcquire(NRF_MutexHandle, HAL_MAX_DELAY) ;

			NRF24_stopListening();
			NRF24_write( MessageToWarnBackCar , 3 ) ;
			NRF24_startListening();

			osMutexRelease(NRF_MutexHandle);
		}
		else if ( ( Local_DPWLeft == false ) && ( Local_DPWL_LastState == true ) )
		{
			/*Abort the Algorithm*/
			MessageToWarnBackCar[1]=SAFE_PASS_L_ID;
			osMutexAcquire(NRF_MutexHandle, HAL_MAX_DELAY) ;

			NRF24_stopListening();
			NRF24_write( MessageToWarnBackCar , 3 ) ;
			NRF24_startListening();

			osMutexRelease(NRF_MutexHandle);
		}
		else
		{
			/* Do Nothing */
		}

		if ( ( Local_DPWRight == true ) && ( Local_DPWR_LastState != true ) )
		{
			/*Invoke the Algorithm*/
			/* Send warning to the Backward Vehicle ( Don't Pass Warning ) via NRF */
			MessageToWarnBackCar[1]=DPW_R_ID;
			osMutexAcquire(NRF_MutexHandle, HAL_MAX_DELAY) ;

			NRF24_stopListening();
			NRF24_write( MessageToWarnBackCar , 3 ) ;
			NRF24_startListening();

			osMutexRelease(NRF_MutexHandle);

		}
		else if ( ( Local_DPWRight == false ) && ( Local_DPWR_LastState == true ) )
		{
			/*Abort the Algorithm*/
			MessageToWarnBackCar[1]=SAFE_PASS_R_ID;
			osMutexAcquire(NRF_MutexHandle, HAL_MAX_DELAY) ;

			NRF24_stopListening();
			NRF24_write( MessageToWarnBackCar , 3 ) ;
			NRF24_startListening();

			osMutexRelease(NRF_MutexHandle);
		}
		else
		{
			/* Do Nothing */
		}
		osDelay(200);

	}
	/* USER CODE END DPW_Algorithm */
}

void Wireless_Receiving(void *argument)
{
	/* USER CODE BEGIN Wireless_Receiving */
	/* Infinite loop */
	for(;;)
	{
		if(NRF24_available()){
			uint8_t Received_Data[32] = {0};

			osMutexAcquire(NRF_MutexHandle, HAL_MAX_DELAY);
			NRF24_read(Received_Data, 32);
			osMutexRelease(NRF_MutexHandle) ;

			switch(Received_Data[1])
			{
			case LOCALIZATION_OPERATION_ID:
				bool Is_Front = ((Received_Data[BACK+2] >= Obstcales_Detection[FRONT] - LOCALIZATION_TOLERANCE_VALUE) &&
						(Received_Data[BACK+2] <= Obstcales_Detection[FRONT] + LOCALIZATION_TOLERANCE_VALUE)) ||
						((Received_Data[BACK_RIGHT+2] >= Obstcales_Detection[FRONT_LEFT] - LOCALIZATION_TOLERANCE_VALUE) &&
								(Received_Data[BACK_LEFT+2] <= Obstcales_Detection[FRONT_RIGHT] + LOCALIZATION_TOLERANCE_VALUE)) ;

				bool Is_Back = ((Received_Data[FRONT+2] >= Obstcales_Detection[BACK] - LOCALIZATION_TOLERANCE_VALUE) &&
						(Received_Data[FRONT+2] <= Obstcales_Detection[BACK] + LOCALIZATION_TOLERANCE_VALUE)) ||
								((Received_Data[BACK_RIGHT+2] >= Obstcales_Detection[FRONT_LEFT] - LOCALIZATION_TOLERANCE_VALUE) &&
										(Received_Data[BACK_LEFT+2] <= Obstcales_Detection[FRONT_RIGHT] + LOCALIZATION_TOLERANCE_VALUE)) ;

				if(Is_Front){

					Front_Car_ID = Received_Data[0];
					if( Received_Data[0] == Back_Car_ID )
					{
						/* Reset */
						Back_Car_ID = 0;
					}
				}
				else if(Is_Back){
					Back_Car_ID = Received_Data[0];
					if( Received_Data[0] == Front_Car_ID )
					{
						/* Reset */
						Front_Car_ID = 0;
					}
				}
				else{

					/*
					 * Do Nothing
					 */
				}
				break;
			case EEBL_ID :
				/* This Message is For me & Came From the Front Car */
				if( ( Received_Data[2] == CAR_ID ) && ( Received_Data[0] == Front_Car_ID ) )
				{
					SSD1306_Clear();
					/* OLED Warning Front Vehicle Hard Braking */
					_vSSD1306_EmergencyElectronicBrake();
					SSD1306_UpdateScreen();
				}

				break;
			case DPW_L_ID :
				/* This Message is For me & Came From the Front Car */
				if( ( Received_Data[2] == CAR_ID ) && ( Received_Data[0] == Front_Car_ID ) )
				{
					SSD1306_Clear();
					_vSSD1306_DontPassWarning(DontPassWarningDirection_Left) ;
					SSD1306_UpdateScreen() ;
				}
				else
				{
					/* Do Nothing */
				}

				break ;

			case DPW_R_ID :
				/* This Message is For me & Came From the Front Car */
				if( ( Received_Data[2] == CAR_ID ) && ( Received_Data[0] == Front_Car_ID ) )
				{
					SSD1306_Clear();
					_vSSD1306_DontPassWarning(DontPassWarningDirection_Right) ;
					SSD1306_UpdateScreen() ;
				}
				else
				{
					/* Do Nothing */
				}
				break ;
			case SAFE_PASS_L_ID :
				/* This Message is For me & Came From the Front Car */
				if( ( Received_Data[2] == CAR_ID ) && ( Received_Data[0] == Front_Car_ID ) )
				{
					SSD1306_Clear();
					_vSSD1306_SafeToPass(DontPassWarningDirection_Left) ;
					SSD1306_UpdateScreen() ;
				}
				else
				{
					/* Do Nothing */
				}
				break ;
			case SAFE_PASS_R_ID :
				/* This Message is For me & Came From the Front Car */
				if( ( Received_Data[2] == CAR_ID ) && ( Received_Data[0] == Front_Car_ID ) )
				{
					SSD1306_Clear();
					_vSSD1306_SafeToPass(DontPassWarningDirection_Right) ;
					SSD1306_UpdateScreen() ;
				}
				else
				{
					/* Do Nothing */
				}
				break ;
			default:
				break;
			}

		}
		osDelay(200);
	}
	/* USER CODE END Wireless_Receiving */
}

void FCW_Algorithm(void *argument)
{
	/* USER CODE BEGIN FCW_Algorithm */
	/* Infinite loop */
	for(;;)
	{
		osEventFlagsWait(EventGroupHandle, FCW_ASSERTED , osFlagsWaitAny , HAL_MAX_DELAY ) ;

		/* Implement the Algorithm
		 * */
		/* buzzer on as warning */
		SSD1306_Clear();
		_vSSD1306_ForwardCollisionWarning();
		SSD1306_UpdateScreen() ;

		osDelay(200);

	}
	/* USER CODE END FCW_Algorithm */
}

void EEBL_Algorithm(void *argument)
{
	/* USER CODE BEGIN EEBL_Algorithm */
	uint8_t Local_u8SendToRaspiStopNow = RPI_STOP ;
	/* Infinite loop */
	for(;;)
	{
		osEventFlagsWait(EventGroupHandle, EEBL_ASSERTED , osFlagsWaitAny , HAL_MAX_DELAY ) ;

		/* Implement the Algorithm
		 * */
		uint8_t MessageToWarnBackCar[]={CAR_ID,EEBL_ID,Back_Car_ID};
		/* Send Message to the Raspberry Pi to Take Actions and Stop Motor */
		HAL_UART_Transmit(&huart1, &Local_u8SendToRaspiStopNow, 1, HAL_MAX_DELAY ) ;

		/* Send warning to the Backward Vehicle to check on Algorithm via NRF */
		osMutexAcquire(NRF_MutexHandle, HAL_MAX_DELAY) ;

		NRF24_stopListening();
		NRF24_write( MessageToWarnBackCar , 3 ) ;
		NRF24_startListening();

		osMutexRelease(NRF_MutexHandle);
		//sending to backward cars to process the case using NRF

	}
	/* USER CODE END EEBL_Algorithm */
}

void Ask_LidarData(void *argument)
{
	/* USER CODE BEGIN Ask_LidarData */
	uint8_t  Local_u8AskLidarForData = ASK_DATA ;
	/* Infinite loop */
	for(;;)
	{
		HAL_UART_Transmit(&huart1, &Local_u8AskLidarForData, 1, HAL_MAX_DELAY ) ;

		osDelay(1000);
	}
	/* USER CODE END Ask_LidarData */
}

void HAL_TIM_PeriodElapsedCallback(TIM_HandleTypeDef *htim)
{
	if (htim->Instance == TIM4) {
		HAL_IncTick();
	}
}

void Error_Handler(void)
{
	__disable_irq();
	while (1)
	{
	}
}

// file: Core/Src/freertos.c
/* USER CODE BEGIN Header */
/**
  ******************************************************************************
  * File Name          : freertos.c
  * Description        : Code for freertos applications
  ******************************************************************************
  * @attention
  *
  * Copyright (c) 2024 STMicroelectronics.
  * All rights reserved.
  *
  * This software is licensed under terms that can be found in the LICENSE file
  * in the root directory of this software component.
  * If no LICENSE file comes with this software, it is provided AS-IS.
  *
  ******************************************************************************
  */
/* USER CODE END Header */

#include "FreeRTOS.h"
#include "task.h"
#include "main.h"

/* Hook prototypes */
void configureTimerForRunTimeStats(void);
unsigned long getRunTimeCounterValue(void);
void vApplicationIdleHook(void);

/* USER CODE BEGIN 1 */
/* Functions needed when configGENERATE_RUN_TIME_STATS is on */
__weak void configureTimerForRunTimeStats(void)
{

}

__weak unsigned long getRunTimeCounterValue(void)
{
return 0;
}
/* USER CODE END 1 */

/* USER CODE BEGIN 2 */
void vApplicationIdleHook( void )
{
   /* vApplicationIdleHook() will only be called if configUSE_IDLE_HOOK is set
   to 1 in FreeRTOSConfig.h. It will be called on each iteration of the idle
   task. It is essential that code added to this hook function never attempts
   to block in any way (for example, call xQueueReceive() with a block time
   specified, or call vTaskDelay()). If the application makes use of the
   vTaskDelete() API function (as this demo application does) then it is also
   important that vApplicationIdleHook() is permitted to return to its calling
   function, because it is the responsibility of the idle task to clean up
   memory allocated by the kernel to any task that has since been deleted. */
}
/* USER CODE END 2 */
